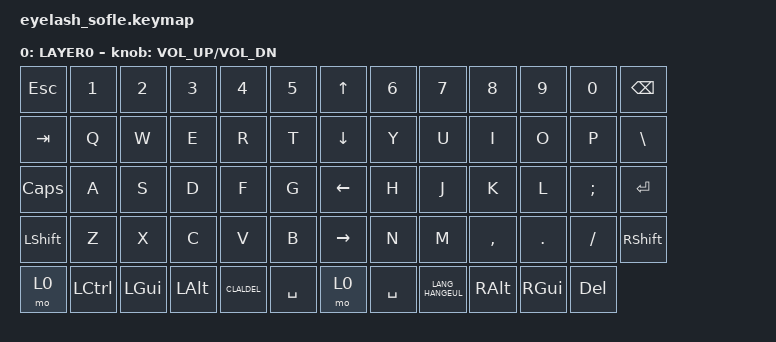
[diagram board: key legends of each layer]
#define ZMK_POINTING_DEFAULT_MOVE_VAL 1200  // 600
#define ZMK_POINTING_DEFAULT_SCRL_VAL 25   // 10

#include <input/processors.dtsi>
#include <zephyr/dt-bindings/input/input-event-codes.h>
#include <behaviors.dtsi>
#include <dt-bindings/zmk/keys.h>
#include <dt-bindings/zmk/pointing.h>

&mmv_input_listener { input-processors = <&zip_xy_scaler 2 1>; };

&msc_input_listener { input-processors = <&zip_scroll_scaler 2 1>; };

&msc {
    acceleration-exponent = <1>;      // 0
    time-to-max-speed-ms = <100>;       // 300
    delay-ms = <0>;                   // 0
};

&mmv {
    time-to-max-speed-ms = <500>;
    acceleration-exponent = <1>;
    trigger-period-ms = <16>;
};

/ {
    scroll_encoder: scroll_encoder {
        compatible = "zmk,behavior-sensor-rotate";
        #sensor-binding-cells = <0>;
        bindings = <&msc SCRL_DOWN>, <&msc SCRL_UP>;

        tap-ms = <100>;
    };

    TOGLEOFF: TOGLEOFF {
        compatible = "zmk,behavior-key-toggle";
        label = "TOGLEOFF";
        #binding-cells = <1>;
        toggle-mode = "off";
    };

    combos {
        compatible = "zmk,combos";

        ASD {
            bindings = <&kp A>;
            key-positions = <14 15>;
        };
    };

    macros {
        CLALDEL: new_macro {
            compatible = "zmk,behavior-macro";
            #binding-cells = <0>;
            bindings = <&sk LEFT_CONTROL &sk LEFT_ALT &kp DELETE>;
            label = "NEW_MACRO";
        };
    };

    behaviors {
    };

    keymap {
        compatible = "zmk,keymap";

        layer0 {
            bindings = <
&kp ESC         &kp N1            &kp N2        &kp N3        &kp N4    &kp N5       &kp UP_ARROW     &kp N6     &kp N7            &kp N8         &kp N9         &kp N0      &kp BACKSPACE
&kp TAB         &kp Q             &kp W         &kp E         &kp R     &kp T        &kp DOWN_ARROW   &kp Y      &kp U             &kp I          &kp O          &kp P       &kp BSLH
&kp CAPS        &kp A             &kp S         &kp D         &kp F     &kp G        &kp LEFT_ARROW   &kp H      &kp J             &kp K          &kp L          &kp SEMI    &kp RET
&kp LEFT_SHIFT  &kp Z             &kp X         &kp C         &kp V     &kp B        &kp RIGHT_ARROW  &kp N      &kp M             &kp COMMA      &kp DOT        &kp FSLH    &kp RIGHT_SHIFT
&mo 0           &kp LEFT_CONTROL  &kp LEFT_GUI  &kp LEFT_ALT  &CLALDEL  &kp SPACE    &mo 0            &kp SPACE  &kp LANG_HANGEUL  &kp RIGHT_ALT  &kp RIGHT_GUI  &kp DELETE
            >;

            sensor-bindings = <&inc_dec_kp C_VOLUME_UP C_VOL_DN>;
            display-name = "LAYER0";
        };
    };
};
